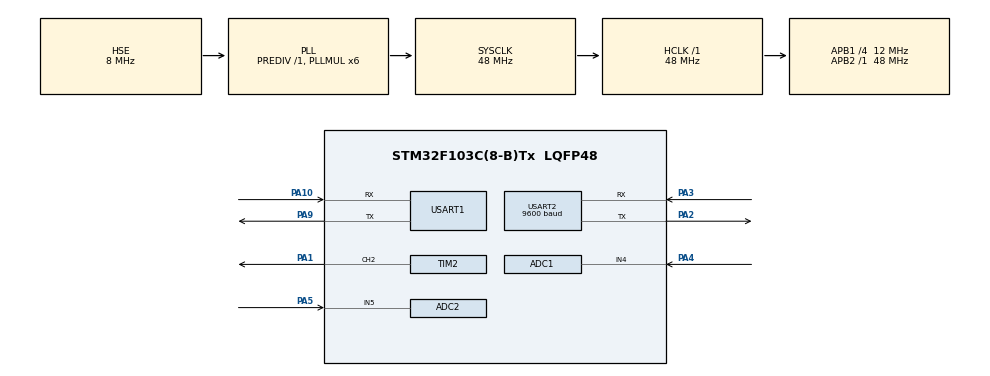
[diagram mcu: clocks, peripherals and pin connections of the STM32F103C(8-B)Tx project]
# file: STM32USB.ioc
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ADC1.Channel-20\#ChannelRegularConversion=ADC_CHANNEL_4
ADC1.ContinuousConvMode=DISABLE
ADC1.DataAlign=ADC_DATAALIGN_RIGHT
ADC1.DiscontinuousConvMode=DISABLE
ADC1.EnableAnalogWatchDog=false
ADC1.EnableRegularConversion=ENABLE
ADC1.ExternalTrigConv=ADC_SOFTWARE_START
ADC1.InjNumberOfConversion=0
ADC1.NbrOfConversion=1
ADC1.NbrOfConversionFlag=1
ADC1.Rank-20\#ChannelRegularConversion=1
ADC1.SamplingTime-20\#ChannelRegularConversion=ADC_SAMPLETIME_71CYCLES_5
ADC1.ScanConvMode=ADC_SCAN_DISABLE
ADC1.master=1
ADC2.Channel-8\#ChannelRegularConversion=ADC_CHANNEL_5
ADC2.NbrOfConversionFlag=1
ADC2.Rank-8\#ChannelRegularConversion=1
ADC2.SamplingTime-8\#ChannelRegularConversion=ADC_SAMPLETIME_71CYCLES_5
Mcu.Family=STM32F1
Mcu.Name=STM32F103C(8-B)Tx
Mcu.Package=LQFP48
NVIC.PriorityGroup=NVIC_PRIORITYGROUP_4
NVIC.USART1_IRQn=true\:0\:0\:false\:false\:true
PA1.Signal=S_TIM2_CH2
PA10.Mode=Asynchronous
PA10.Signal=USART1_RX
PA13.Mode=Serial_Wire
PA13.Signal=SYS_JTMS-SWDIO
PA14.Mode=Serial_Wire
PA14.Signal=SYS_JTCK-SWCLK
PA2.Mode=Asynchronous
PA2.Signal=USART2_TX
PA3.Mode=Asynchronous
PA3.Signal=USART2_RX
PA4.Signal=ADCx_IN4
PA5.Signal=ADCx_IN5
PA9.Mode=Asynchronous
PA9.Signal=USART1_TX
PD0-OSC_IN.Mode=HSE-External-Oscillator
PD0-OSC_IN.Signal=RCC_OSC_IN
PD1-OSC_OUT.Mode=HSE-External-Oscillator
PD1-OSC_OUT.Signal=RCC_OSC_OUT
ProjectManager.HeapSize=0x200
ProjectManager.StackSize=0x400
ProjectManager.TargetToolchain=Makefile
RCC.ADCPresc=RCC_ADCPCLK2_DIV4
RCC.AHBFreq_Value=48000000
RCC.APB1CLKDivider=RCC_HCLK_DIV4
RCC.APB1Freq_Value=12000000
RCC.APB1TimFreq_Value=24000000
RCC.APB2Freq_Value=48000000
RCC.APB2TimFreq_Value=48000000
RCC.HCLKFreq_Value=48000000
RCC.PLLMUL=RCC_PLL_MUL6
RCC.PLLSourceVirtual=RCC_PLLSOURCE_HSE
RCC.SYSCLKFreq_VALUE=48000000
RCC.SYSCLKSource=RCC_SYSCLKSOURCE_PLLCLK
RCC.USBFreq_Value=48000000
SH.ADCx_IN4.0=ADC1_IN4,IN4
SH.ADCx_IN5.0=ADC2_IN5,IN5
SH.S_TIM2_CH2.0=TIM2_CH2,PWM Generation2 CH2
TIM2.Channel-PWM\ Generation2\ CH2=TIM_CHANNEL_2
TIM2.Period=1599
TIM2.Pulse-PWM\ Generation2\ CH2=799
USART1.VirtualMode=VM_ASYNC
USART2.BaudRate=9600
USART2.VirtualMode=VM_ASYNC
VP_TIM2_VS_ClockSourceINT.Mode=Internal
board=STM32USB

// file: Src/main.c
/**
  ******************************************************************************
  * File Name          : main.c
  * Description        : Main program body
  ******************************************************************************
  ** This notice applies to any and all portions of this file
  * that are not between comment pairs USER CODE BEGIN and
  * USER CODE END. Other portions of this file, whether
  * inserted by the user or by software development tools
  * are owned by their respective copyright owners.
  *
  * COPYRIGHT(c) 2017 STMicroelectronics
  *
  * Redistribution and use in source and binary forms, with or without modification,
  * are permitted provided that the following conditions are met:
  *   1. Redistributions of source code must retain the above copyright notice,
  *      this list of conditions and the following disclaimer.
  *   2. Redistributions in binary form must reproduce the above copyright notice,
  *      this list of conditions and the following disclaimer in the documentation
  *      and/or other materials provided with the distribution.
  *   3. Neither the name of STMicroelectronics nor the names of its contributors
  *      may be used to endorse or promote products derived from this software
  *      without specific prior written permission.
  *
  * THIS SOFTWARE IS PROVIDED BY THE COPYRIGHT HOLDERS AND CONTRIBUTORS "AS IS"
  * AND ANY EXPRESS OR IMPLIED WARRANTIES, INCLUDING, BUT NOT LIMITED TO, THE
  * IMPLIED WARRANTIES OF MERCHANTABILITY AND FITNESS FOR A PARTICULAR PURPOSE ARE
  * DISCLAIMED. IN NO EVENT SHALL THE COPYRIGHT HOLDER OR CONTRIBUTORS BE LIABLE
  * FOR ANY DIRECT, INDIRECT, INCIDENTAL, SPECIAL, EXEMPLARY, OR CONSEQUENTIAL
  * DAMAGES (INCLUDING, BUT NOT LIMITED TO, PROCUREMENT OF SUBSTITUTE GOODS OR
  * SERVICES; LOSS OF USE, DATA, OR PROFITS; OR BUSINESS INTERRUPTION) HOWEVER
  * CAUSED AND ON ANY THEORY OF LIABILITY, WHETHER IN CONTRACT, STRICT LIABILITY,
  * OR TORT (INCLUDING NEGLIGENCE OR OTHERWISE) ARISING IN ANY WAY OUT OF THE USE
  * OF THIS SOFTWARE, EVEN IF ADVISED OF THE POSSIBILITY OF SUCH DAMAGE.
  *
  ******************************************************************************
  */
#include "main.h"
#include "stm32f1xx_hal.h"

/* USER CODE BEGIN Includes */
#include "communication.h"
#include "moisture.h"
#include "sds011.h"
#include "dht22.h"

#define DHT22_PORT					GPIOA
#define DHT22_PIN					GPIO_PIN_0
#define NUMBER_OF_MEASUREMENTS		10		// Do x measurements
#define WAIT_AFTER_INITIALISATION	30000	// Wait x seconds after the initialisation of the particle sensor
#define WAIT_AFTER_WAKEUP			30000	// Wait x seconds after sending wakeup command to particle sensor
#define WAIT_MEASURE_LOOP			3000	// Wait x seconds between two measurements
#define WAIT_AFTER_MEASURE			60000	// Wait x seconds after measuring
/* USER CODE END Includes */

ADC_HandleTypeDef hadc1;
ADC_HandleTypeDef hadc2;

TIM_HandleTypeDef htim2;

UART_HandleTypeDef huart1;
UART_HandleTypeDef huart2;

/* USER CODE BEGIN PV */
/* Private variables ---------------------------------------------------------*/
uint8_t uart2_receive_buffer[PC_COMMAND_PACKET_SIZE];
uint8_t pc_command[PC_COMMAND_PACKET_SIZE];
volatile uint8_t pc_command_received_flag;
volatile uint8_t pc_command_byte;
volatile uint8_t values_retrieved = 0;

uint16_t sensor_value_buffer[NUMBER_OF_MEASUREMENTS][6];
/* USER CODE END PV */

void SystemClock_Config(void);
static void MX_GPIO_Init(void);
static void MX_USART1_UART_Init(void);
static void MX_USART2_UART_Init(void);
static void MX_TIM2_Init(void);
static void MX_ADC1_Init(void);
static void MX_ADC2_Init(void);

void HAL_TIM_MspPostInit(TIM_HandleTypeDef *htim);

/* USER CODE BEGIN PFP */
/* Private function prototypes -----------------------------------------------*/
static void set_brightness(uint8_t percent);
/* USER CODE END PFP */

int main(void)
{

  /* USER CODE BEGIN 1 */
	uint32_t pm2_5 = 0;
	uint32_t pm10 = 0;
	uint32_t temp = 0;
	uint32_t hum = 0;
  uint32_t moisture = 0;
  uint32_t light = 0;
	uint8_t state = STATE_WAKEUP_PARTICLE_SENSOR;
	int timestamp = 0;
	int measurements = 0;
  /* USER CODE END 1 */

  /* MCU Configuration----------------------------------------------------------*/

  /* Reset of all peripherals, Initializes the Flash interface and the Systick. */
  HAL_Init();

  /* Configure the system clock */
  SystemClock_Config();

  /* Initialize all configured peripherals */
  MX_GPIO_Init();
  MX_USART1_UART_Init();
  MX_USART2_UART_Init();
  MX_TIM2_Init();
  MX_ADC1_Init();
  MX_ADC2_Init();

  /* USER CODE BEGIN 2 */
  HAL_UART_Receive_IT(&huart1, uart2_receive_buffer, 1);
  HAL_TIM_PWM_Start(&htim2, TIM_CHANNEL_2);
  sds011_init(&huart2);
  //HAL_Delay(WAIT_AFTER_INITIALISATION);
  /* USER CODE END 2 */

  /* Infinite loop */
	while (1)
	{

  /* USER CODE BEGIN 3 */

		if (pc_command_received_flag) {
			pc_command_received_flag = 0;

			switch (pc_command[1]) {
        case GET_STATUS:
          send_status(values_retrieved);
          break;

				case GET_SENSOR_VALUES:
					transmit_data_to_pc(pm2_5, pm10, temp, hum, moisture, light);
					break;

				case SET_BRIGHTNESS:
					set_brightness(pc_command[2]);
					break;

				default:
					break;
			}
		}

		switch (state) {
			case STATE_WAKEUP_PARTICLE_SENSOR:
				sds011_set_mode(&huart2, WAKEUP);
				timestamp = HAL_GetTick();
				state = STATE_WAIT_AFTER_WAKEUP;
				break;

			case STATE_WAIT_AFTER_WAKEUP:
				if ((HAL_GetTick() - timestamp) >= WAIT_AFTER_WAKEUP) {
					measurements = 0;
					state = STATE_GET_SENSOR_DATA_LOOP;
				}
				break;

			case STATE_GET_SENSOR_DATA_LOOP:
				sds011_get_sensor_data(&huart2, &(sensor_value_buffer[measurements][0]), &(sensor_value_buffer[measurements][1]));
				dht22_get_data(DHT22_PORT, DHT22_PIN, &(sensor_value_buffer[measurements][2]), &(sensor_value_buffer[measurements][3]));
        get_analog_values(&(sensor_value_buffer[measurements][4]), &(sensor_value_buffer[measurements][5]));
				measurements++;
				timestamp = HAL_GetTick();

				if (measurements < NUMBER_OF_MEASUREMENTS) {
					state = STATE_WAIT_IN_LOOP;

				} else {
					sds011_set_mode(&huart2, SLEEP);

					pm2_5 = 0; pm10 = 0;
					temp = 0; hum = 0;
          moisture = 0;
					int i;
					for (i = 0; i < NUMBER_OF_MEASUREMENTS; i++) {
						pm2_5 += sensor_value_buffer[i][0];
						pm10 += sensor_value_buffer[i][1];
						temp += sensor_value_buffer[i][2];
						hum += sensor_value_buffer[i][3];
            moisture += sensor_value_buffer[i][4];
            light += sensor_value_buffer[i][5];
					}

					pm2_5 /= NUMBER_OF_MEASUREMENTS;
					pm10 /= NUMBER_OF_MEASUREMENTS;
					temp /= NUMBER_OF_MEASUREMENTS;
					hum /= NUMBER_OF_MEASUREMENTS;
          moisture /= NUMBER_OF_MEASUREMENTS;
          light /= NUMBER_OF_MEASUREMENTS;

          values_retrieved = 1;

					state = STATE_WAIT_MAIN_LOOP;
				}

				break;

			case STATE_WAIT_IN_LOOP:
				if ((HAL_GetTick() - timestamp) >= WAIT_MEASURE_LOOP) {
					state = STATE_GET_SENSOR_DATA_LOOP;
				}
				break;

			case STATE_WAIT_MAIN_LOOP:
				if ((HAL_GetTick() - timestamp) >= WAIT_AFTER_MEASURE) {
					state = STATE_WAKEUP_PARTICLE_SENSOR;
				}
				break;
		}
	}
  /* USER CODE END 3 */

}

/** System Clock Configuration
*/
void SystemClock_Config(void)
{

  RCC_OscInitTypeDef RCC_OscInitStruct;
  RCC_ClkInitTypeDef RCC_ClkInitStruct;
  RCC_PeriphCLKInitTypeDef PeriphClkInit;

    /**Initializes the CPU, AHB and APB busses clocks
    */
  RCC_OscInitStruct.OscillatorType = RCC_OSCILLATORTYPE_HSE;
  RCC_OscInitStruct.HSEState = RCC_HSE_ON;
  RCC_OscInitStruct.HSEPredivValue = RCC_HSE_PREDIV_DIV1;
  RCC_OscInitStruct.HSIState = RCC_HSI_ON;
  RCC_OscInitStruct.PLL.PLLState = RCC_PLL_ON;
  RCC_OscInitStruct.PLL.PLLSource = RCC_PLLSOURCE_HSE;
  RCC_OscInitStruct.PLL.PLLMUL = RCC_PLL_MUL6;
  if (HAL_RCC_OscConfig(&RCC_OscInitStruct) != HAL_OK)
  {
    _Error_Handler(__FILE__, __LINE__);
  }

    /**Initializes the CPU, AHB and APB busses clocks
    */
  RCC_ClkInitStruct.ClockType = RCC_CLOCKTYPE_HCLK|RCC_CLOCKTYPE_SYSCLK
                              |RCC_CLOCKTYPE_PCLK1|RCC_CLOCKTYPE_PCLK2;
  RCC_ClkInitStruct.SYSCLKSource = RCC_SYSCLKSOURCE_PLLCLK;
  RCC_ClkInitStruct.AHBCLKDivider = RCC_SYSCLK_DIV1;
  RCC_ClkInitStruct.APB1CLKDivider = RCC_HCLK_DIV4;
  RCC_ClkInitStruct.APB2CLKDivider = RCC_HCLK_DIV1;

  if (HAL_RCC_ClockConfig(&RCC_ClkInitStruct, FLASH_LATENCY_1) != HAL_OK)
  {
    _Error_Handler(__FILE__, __LINE__);
  }

  PeriphClkInit.PeriphClockSelection = RCC_PERIPHCLK_ADC;
  PeriphClkInit.AdcClockSelection = RCC_ADCPCLK2_DIV4;
  if (HAL_RCCEx_PeriphCLKConfig(&PeriphClkInit) != HAL_OK)
  {
    _Error_Handler(__FILE__, __LINE__);
  }

    /**Configure the Systick interrupt time
    */
  HAL_SYSTICK_Config(HAL_RCC_GetHCLKFreq()/1000);

    /**Configure the Systick
    */
  HAL_SYSTICK_CLKSourceConfig(SYSTICK_CLKSOURCE_HCLK);

  /* SysTick_IRQn interrupt configuration */
  HAL_NVIC_SetPriority(SysTick_IRQn, 0, 0);
}

/* ADC1 init function */
static void MX_ADC1_Init(void)
{

  ADC_ChannelConfTypeDef sConfig;

    /**Common config
    */
  hadc1.Instance = ADC1;
  hadc1.Init.ScanConvMode = ADC_SCAN_DISABLE;
  hadc1.Init.ContinuousConvMode = DISABLE;
  hadc1.Init.DiscontinuousConvMode = DISABLE;
  hadc1.Init.ExternalTrigConv = ADC_SOFTWARE_START;
  hadc1.Init.DataAlign = ADC_DATAALIGN_RIGHT;
  hadc1.Init.NbrOfConversion = 1;
  if (HAL_ADC_Init(&hadc1) != HAL_OK)
  {
    _Error_Handler(__FILE__, __LINE__);
  }

    /**Configure Regular Channel
    */
  sConfig.Channel = ADC_CHANNEL_4;
  sConfig.Rank = 1;
  sConfig.SamplingTime = ADC_SAMPLETIME_71CYCLES_5;
  if (HAL_ADC_ConfigChannel(&hadc1, &sConfig) != HAL_OK)
  {
    _Error_Handler(__FILE__, __LINE__);
  }

}

/* ADC2 init function */
static void MX_ADC2_Init(void)
{

  ADC_ChannelConfTypeDef sConfig;

    /**Common config
    */
  hadc2.Instance = ADC2;
  hadc2.Init.ScanConvMode = ADC_SCAN_DISABLE;
  hadc2.Init.ContinuousConvMode = DISABLE;
  hadc2.Init.DiscontinuousConvMode = DISABLE;
  hadc2.Init.ExternalTrigConv = ADC_SOFTWARE_START;
  hadc2.Init.DataAlign = ADC_DATAALIGN_RIGHT;
  hadc2.Init.NbrOfConversion = 1;
  if (HAL_ADC_Init(&hadc2) != HAL_OK)
  {
    _Error_Handler(__FILE__, __LINE__);
  }

    /**Configure Regular Channel
    */
  sConfig.Channel = ADC_CHANNEL_5;
  sConfig.Rank = 1;
  sConfig.SamplingTime = ADC_SAMPLETIME_71CYCLES_5;
  if (HAL_ADC_ConfigChannel(&hadc2, &sConfig) != HAL_OK)
  {
    _Error_Handler(__FILE__, __LINE__);
  }

}

/* TIM2 init function */
static void MX_TIM2_Init(void)
{

  TIM_ClockConfigTypeDef sClockSourceConfig;
  TIM_MasterConfigTypeDef sMasterConfig;
  TIM_OC_InitTypeDef sConfigOC;

  htim2.Instance = TIM2;
  htim2.Init.Prescaler = 0;
  htim2.Init.CounterMode = TIM_COUNTERMODE_UP;
  htim2.Init.Period = 1599;
  htim2.Init.ClockDivision = TIM_CLOCKDIVISION_DIV1;
  if (HAL_TIM_Base_Init(&htim2) != HAL_OK)
  {
    _Error_Handler(__FILE__, __LINE__);
  }

  sClockSourceConfig.ClockSource = TIM_CLOCKSOURCE_INTERNAL;
  if (HAL_TIM_ConfigClockSource(&htim2, &sClockSourceConfig) != HAL_OK)
  {
    _Error_Handler(__FILE__, __LINE__);
  }

  if (HAL_TIM_PWM_Init(&htim2) != HAL_OK)
  {
    _Error_Handler(__FILE__, __LINE__);
  }

  sMasterConfig.MasterOutputTrigger = TIM_TRGO_RESET;
  sMasterConfig.MasterSlaveMode = TIM_MASTERSLAVEMODE_DISABLE;
  if (HAL_TIMEx_MasterConfigSynchronization(&htim2, &sMasterConfig) != HAL_OK)
  {
    _Error_Handler(__FILE__, __LINE__);
  }

  sConfigOC.OCMode = TIM_OCMODE_PWM1;
  sConfigOC.Pulse = 799;
  sConfigOC.OCPolarity = TIM_OCPOLARITY_HIGH;
  sConfigOC.OCFastMode = TIM_OCFAST_DISABLE;
  if (HAL_TIM_PWM_ConfigChannel(&htim2, &sConfigOC, TIM_CHANNEL_2) != HAL_OK)
  {
    _Error_Handler(__FILE__, __LINE__);
  }

  HAL_TIM_MspPostInit(&htim2);

}

/* USART1 init function */
static void MX_USART1_UART_Init(void)
{

  huart1.Instance = USART1;
  huart1.Init.BaudRate = 115200;
  huart1.Init.WordLength = UART_WORDLENGTH_8B;
  huart1.Init.StopBits = UART_STOPBITS_1;
  huart1.Init.Parity = UART_PARITY_NONE;
  huart1.Init.Mode = UART_MODE_TX_RX;
  huart1.Init.HwFlowCtl = UART_HWCONTROL_NONE;
  huart1.Init.OverSampling = UART_OVERSAMPLING_16;
  if (HAL_UART_Init(&huart1) != HAL_OK)
  {
    _Error_Handler(__FILE__, __LINE__);
  }

}

/* USART2 init function */
static void MX_USART2_UART_Init(void)
{

  huart2.Instance = USART2;
  huart2.Init.BaudRate = 9600;
  huart2.Init.WordLength = UART_WORDLENGTH_8B;
  huart2.Init.StopBits = UART_STOPBITS_1;
  huart2.Init.Parity = UART_PARITY_NONE;
  huart2.Init.Mode = UART_MODE_TX_RX;
  huart2.Init.HwFlowCtl = UART_HWCONTROL_NONE;
  huart2.Init.OverSampling = UART_OVERSAMPLING_16;
  if (HAL_UART_Init(&huart2) != HAL_OK)
  {
    _Error_Handler(__FILE__, __LINE__);
  }

}

/** Configure pins as
        * Analog
        * Input
        * Output
        * EVENT_OUT
        * EXTI
*/
static void MX_GPIO_Init(void)
{

  /* GPIO Ports Clock Enable */
  __HAL_RCC_GPIOD_CLK_ENABLE();
  __HAL_RCC_GPIOA_CLK_ENABLE();

}

/* USER CODE BEGIN 4 */
static void set_brightness(uint8_t percent) {
	TIM_OC_InitTypeDef tim_oc;

	if (percent > 100) {
		percent = 100;
	}

	tim_oc.Pulse = (1599 / 100) * percent;
	tim_oc.OCMode = TIM_OCMODE_PWM1;
	tim_oc.OCPolarity = TIM_OCPOLARITY_HIGH;
	tim_oc.OCFastMode = TIM_OCFAST_DISABLE;

	HAL_TIM_PWM_ConfigChannel(&htim2, &tim_oc, TIM_CHANNEL_2);
	HAL_TIM_PWM_Start(&htim2, TIM_CHANNEL_2);
}
/* USER CODE END 4 */

void _Error_Handler(char * file, int line)
{
	while(1)
	{
	}
}

/************************ (C) COPYRIGHT STMicroelectronics *****END OF FILE****/
